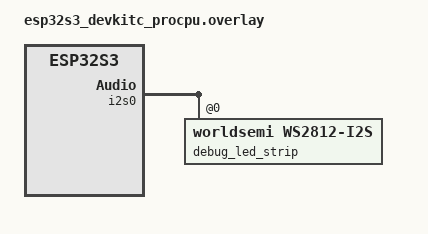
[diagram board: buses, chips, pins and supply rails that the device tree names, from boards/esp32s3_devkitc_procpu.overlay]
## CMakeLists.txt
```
cmake_minimum_required(VERSION 3.20.0)
find_package(Zephyr REQUIRED HINTS $ENV{ZEPHYR_BASE})
project(hybrid_lighting_esp32s3)

target_sources(app PRIVATE src/main.c)
```

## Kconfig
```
# SPDX-License-Identifier: Apache-2.0

mainmenu "Hybrid Lighting Lab"

source "$ZEPHYR_BASE/Kconfig.zephyr"

menu "Hybrid Lighting Lab"

config HYBRID_WIFI_SSID
    string "Wi-Fi SSID"
    default ""

config HYBRID_WIFI_PSK
    string "Wi-Fi PSK"
    default ""

endmenu
```

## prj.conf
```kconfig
CONFIG_MAIN_STACK_SIZE=8192
CONFIG_HEAP_MEM_POOL_SIZE=49152

CONFIG_LOG=y
CONFIG_LOG_DEFAULT_LEVEL=3
CONFIG_SERIAL=y
CONFIG_CONSOLE=y
CONFIG_UART_CONSOLE=y

CONFIG_GW_ENGINE=y
CONFIG_GW_ENGINE_TRANSPORT_INTERNAL=y
CONFIG_GW_ENGINE_TRANSPORT_SPI=n
CONFIG_GW_ENGINE_TRANSPORT_UART=n
CONFIG_GW_ENGINE_PORTS_ZEPHYR=n

CONFIG_GW_ENGINE_CLOUD_STUB=y
CONFIG_GW_ENGINE_CLOUD_ZEPHYR=n
CONFIG_GW_ENGINE_OTA_STUB=y

CONFIG_NETWORKING=y
CONFIG_WIFI=y
CONFIG_NET_L2_ETHERNET=y
CONFIG_NET_L2_WIFI_MGMT=y
CONFIG_NET_MGMT=y
CONFIG_NET_MGMT_EVENT=y
CONFIG_NET_CONNECTION_MANAGER=y
CONFIG_NET_IPV4=y
CONFIG_NET_IPV6=n
CONFIG_NET_TCP=y
CONFIG_NET_UDP=y
CONFIG_NET_DHCPV4=y
CONFIG_NET_SOCKETS=y
CONFIG_POSIX_API=y
CONFIG_DNS_RESOLVER=y
CONFIG_ZVFS_POLL_MAX=8

CONFIG_LED_STRIP=y
CONFIG_WS2812_STRIP_I2S=y

CONFIG_HYBRID_WIFI_SSID=""
CONFIG_HYBRID_WIFI_PSK=""
```

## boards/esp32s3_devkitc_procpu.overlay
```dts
#include <zephyr/dt-bindings/led/led.h>
#include <zephyr/dt-bindings/pinctrl/esp32s3-pinctrl.h>

/ {
    aliases {
        led-strip = &debug_led_strip;
    };
};

&i2s0_default {
    group1 {
        pinmux = <I2S0_O_SD_GPIO48>;
    };
};

i2s_led: &i2s0 {
    status = "okay";

    dmas = <&dma 3>;
    dma-names = "tx";

    debug_led_strip: ws2812@0 {
        compatible = "worldsemi,ws2812-i2s";

        reg = <0>;
        chain-length = <1>;
        color-mapping = <LED_COLOR_ID_GREEN
                         LED_COLOR_ID_RED
                         LED_COLOR_ID_BLUE>;
        reset-delay = <500>;
    };
};

&dma {
    status = "okay";
};
```

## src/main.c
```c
#include <errno.h>
#include <stdbool.h>
#include <stdint.h>
#include <stdio.h>
#include <string.h>

#include <zephyr/device.h>
#include <zephyr/devicetree.h>
#include <zephyr/drivers/led_strip.h>
#include <zephyr/kernel.h>
#include <zephyr/logging/log.h>
#include <zephyr/net/net_if.h>
#include <zephyr/net/net_mgmt.h>
#include <zephyr/net/wifi.h>
#include <zephyr/net/wifi_mgmt.h>

#include <gateway_engine/gw_engine.h>
#include <gateway_engine/gw_link_proto.h>

LOG_MODULE_REGISTER(hybrid_lighting_gateway, LOG_LEVEL_INF);

#define LAB_WIFI_EVENTS (NET_EVENT_WIFI_CONNECT_RESULT | NET_EVENT_WIFI_DISCONNECT_RESULT)
#define LAB_WIFI_RETRY_MS 5000U
#define LAB_ENGINE_RETRY_MS 5000U

#if DT_NODE_HAS_STATUS(DT_ALIAS(led_strip), okay)
#define LAB_HAS_DEBUG_LED 1
#else
#define LAB_HAS_DEBUG_LED 0
#endif

typedef enum {
    DEBUG_LED_OFF = 0,
    DEBUG_LED_RED,
    DEBUG_LED_GREEN,
    DEBUG_LED_BLUE,
} debug_led_state_t;

typedef struct {
    uint8_t is_on;
    uint8_t brightness;
    uint8_t scene;
    uint16_t heartbeat_count;
    uint32_t tick;
} edge_lighting_state_t;

typedef struct {
    edge_lighting_state_t edge;
    gw_engine_t engine;
    gw_transport_t transport;
    gw_transport_internal_t internal_backend;
    struct net_if *wifi_iface;
    struct net_mgmt_event_callback wifi_cb;
    bool wifi_connected;
    bool wifi_connect_pending;
    bool engine_started;
    uint32_t last_wifi_attempt_ms;
    uint32_t last_engine_attempt_ms;
    uint32_t last_scene_log_ms;
    debug_led_state_t led_state;
    const struct device *led_strip;
} lab_ctx_t;

static lab_ctx_t *g_lab_ctx;

static int edge_build_ack(const gw_link_frame_view_t *view, uint8_t *rx_data, size_t rx_cap, size_t *rx_len)
{
    uint8_t payload[4] = {0U, 0U, 0U, 0U};

    if (view == NULL || rx_data == NULL || rx_len == NULL) {
        return -EINVAL;
    }

    payload[0] = view->cmd;
    payload[1] = (uint8_t)(view->seq & 0x00FFU);
    payload[2] = (uint8_t)(view->seq >> 8);
    payload[3] = 0x00U;

    return gw_link_encode(0U, GW_LINK_CMD_ACK, view->seq, payload, sizeof(payload), rx_data, rx_cap, rx_len);
}

static void edge_apply_control(edge_lighting_state_t *edge, const gw_link_frame_view_t *view)
{
    uint8_t op;
    uint8_t arg;

    if (edge == NULL || view == NULL || view->payload_len < 2U) {
        return;
    }

    op = view->payload[0];
    arg = view->payload[1];

    switch (op) {
    case 0x01:
        edge->is_on = (arg > 0U) ? 1U : 0U;
        break;
    case 0x02:
        edge->brightness = arg;
        break;
    case 0x03:
        edge->scene = arg;
        break;
    default:
        break;
    }
}

static int internal_exchange_cb(
    const uint8_t *tx_data,
    size_t tx_len,
    uint8_t *rx_data,
    size_t rx_cap,
    size_t *rx_len,
    void *user_data)
{
    lab_ctx_t *lab = (lab_ctx_t *)user_data;
    gw_link_frame_view_t view;
    int rc;

    if (lab == NULL || tx_data == NULL || tx_len == 0U || rx_data == NULL || rx_len == NULL) {
        return -EINVAL;
    }

    rc = gw_link_decode(tx_data, tx_len, &view);
    if (rc != 0) {
        return rc;
    }

    if (view.cmd == GW_LINK_CMD_HEARTBEAT) {
        lab->edge.heartbeat_count++;
    } else if (view.cmd == GW_LINK_CMD_CONTROL) {
        edge_apply_control(&lab->edge, &view);
    }

    return edge_build_ack(&view, rx_data, rx_cap, rx_len);
}

static void edge_simulate_animation(edge_lighting_state_t *edge)
{
    if (edge == NULL) {
        return;
    }

    edge->tick++;

    if (edge->is_on == 0U) {
        edge->brightness = 0U;
        return;
    }

    if (edge->scene == 0U) {
        edge->brightness = (uint8_t)(30U + (edge->tick % 70U));
    } else if (edge->scene == 1U) {
        edge->brightness = (uint8_t)(edge->tick % 100U);
    } else {
        edge->brightness = (uint8_t)(80U + ((edge->tick / 8U) % 20U));
    }
}

static int gateway_send_control(gw_engine_t *engine, uint8_t op, uint8_t arg)
{
    uint8_t payload[2];

    if (engine == NULL) {
        return -EINVAL;
    }

    payload[0] = op;
    payload[1] = arg;

    return gw_engine_send(engine, GW_LINK_CMD_CONTROL, payload, sizeof(payload));
}

static int gateway_send_heartbeat(gw_engine_t *engine)
{
    uint8_t payload[2] = {0xAAU, 0x55U};

    if (engine == NULL) {
        return -EINVAL;
    }

    return gw_engine_send(engine, GW_LINK_CMD_HEARTBEAT, payload, sizeof(payload));
}

static int gateway_send_lighting_telemetry(gw_engine_t *engine, const edge_lighting_state_t *edge)
{
    char payload[96];
    int n;

    if (engine == NULL || edge == NULL) {
        return -EINVAL;
    }

    n = snprintk(
        payload,
        sizeof(payload),
        "{\"on\":%u,\"brightness\":%u,\"scene\":%u,\"hb\":%u}",
        (unsigned int)edge->is_on,
        (unsigned int)edge->brightness,
        (unsigned int)edge->scene,
        (unsigned int)edge->heartbeat_count);
    if (n <= 0 || (size_t)n >= sizeof(payload)) {
        return -ENOSPC;
    }

    return gw_engine_send(engine, GW_LINK_CMD_TELEMETRY, (const uint8_t *)payload, (uint16_t)n);
}

static const struct device *lab_get_led_strip(void)
{
#if LAB_HAS_DEBUG_LED
    return DEVICE_DT_GET(DT_ALIAS(led_strip));
#else
    return NULL;
#endif
}

static int lab_set_debug_led(lab_ctx_t *lab, debug_led_state_t next)
{
    struct led_rgb pixel;
    int rc;

    if (lab == NULL || lab->led_strip == NULL) {
        return -ENODEV;
    }

    if (!device_is_ready(lab->led_strip)) {
        return -ENODEV;
    }

    if (lab->led_state == next) {
        return 0;
    }

    (void)memset(&pixel, 0, sizeof(pixel));

    switch (next) {
    case DEBUG_LED_RED:
        pixel.r = 64U;
        break;
    case DEBUG_LED_GREEN:
        pixel.g = 64U;
        break;
    case DEBUG_LED_BLUE:
        pixel.b = 64U;
        break;
    case DEBUG_LED_OFF:
    default:
        break;
    }

    rc = led_strip_update_rgb(lab->led_strip, &pixel, 1U);
    if (rc != 0) {
        return rc;
    }

    lab->led_state = next;
    return 0;
}

static void lab_refresh_debug_led(lab_ctx_t *lab)
{
    debug_led_state_t target = DEBUG_LED_RED;
    bool mqtt_connected;

    if (lab == NULL) {
        return;
    }

    mqtt_connected = lab->wifi_connected && lab->engine_started && lab->engine.cloud.connected;

    if (lab->wifi_connected && mqtt_connected) {
        target = DEBUG_LED_BLUE;
    } else if (lab->wifi_connected) {
        target = DEBUG_LED_GREEN;
    }

    if (lab_set_debug_led(lab, target) != 0) {
        return;
    }
}

static void lab_wifi_event_handler(struct net_mgmt_event_callback *cb, uint64_t mgmt_event, struct net_if *iface)
{
    const struct wifi_status *status;
    lab_ctx_t *lab = g_lab_ctx;

    if (lab == NULL || iface != lab->wifi_iface) {
        return;
    }

    status = (const struct wifi_status *)cb->info;

    switch (mgmt_event) {
    case NET_EVENT_WIFI_CONNECT_RESULT:
        lab->wifi_connect_pending = false;
        if (status != NULL && status->status == 0) {
            lab->wifi_connected = true;
            LOG_INF("wifi connected");
        } else {
            lab->wifi_connected = false;
            LOG_WRN("wifi connect failed: %d", (status != NULL) ? status->status : -EIO);
        }
        break;

    case NET_EVENT_WIFI_DISCONNECT_RESULT:
        lab->wifi_connected = false;
        lab->wifi_connect_pending = false;
        LOG_WRN("wifi disconnected: %d", (status != NULL) ? status->status : 0);
        break;

    default:
        break;
    }
}

static int lab_wifi_status_sync(lab_ctx_t *lab)
{
    struct wifi_iface_status status;
    int rc;

    if (lab == NULL || lab->wifi_iface == NULL) {
        return -EINVAL;
    }

    (void)memset(&status, 0, sizeof(status));

    rc = net_mgmt(
        NET_REQUEST_WIFI_IFACE_STATUS,
        lab->wifi_iface,
        &status,
        sizeof(struct wifi_iface_status));
    if (rc != 0) {
        return rc;
    }

    lab->wifi_connected = (status.state == WIFI_STATE_COMPLETED);
    return 0;
}

static int lab_wifi_connect_request(lab_ctx_t *lab)
{
    struct wifi_connect_req_params params;
    size_t ssid_len;
    size_t psk_len;

    if (lab == NULL || lab->wifi_iface == NULL) {
        return -EINVAL;
    }

    if (lab->wifi_connected || lab->wifi_connect_pending) {
        return 0;
    }

    ssid_len = strlen(CONFIG_HYBRID_WIFI_SSID);
    if (ssid_len == 0U) {
        return -ENODATA;
    }

    psk_len = strlen(CONFIG_HYBRID_WIFI_PSK);

    (void)memset(&params, 0, sizeof(params));
    params.ssid = (const uint8_t *)CONFIG_HYBRID_WIFI_SSID;
    params.ssid_length = (uint8_t)ssid_len;
    params.band = WIFI_FREQ_BAND_UNKNOWN;
    params.channel = WIFI_CHANNEL_ANY;
    params.mfp = WIFI_MFP_OPTIONAL;

    if (psk_len > 0U) {
        params.security = WIFI_SECURITY_TYPE_PSK;
        params.psk = (const uint8_t *)CONFIG_HYBRID_WIFI_PSK;
        params.psk_length = (uint8_t)psk_len;
    } else {
        params.security = WIFI_SECURITY_TYPE_NONE;
    }

    lab->wifi_connect_pending = true;

    return net_mgmt(
        NET_REQUEST_WIFI_CONNECT,
        lab->wifi_iface,
        &params,
        sizeof(struct wifi_connect_req_params));
}

static int lab_wifi_init(lab_ctx_t *lab)
{
    if (lab == NULL) {
        return -EINVAL;
    }

    lab->wifi_iface = net_if_get_default();
    if (lab->wifi_iface == NULL) {
        return -ENODEV;
    }

    g_lab_ctx = lab;

    net_mgmt_init_event_callback(&lab->wifi_cb, lab_wifi_event_handler, LAB_WIFI_EVENTS);
    net_mgmt_add_event_callback(&lab->wifi_cb);

    if (lab_wifi_status_sync(lab) == 0 && lab->wifi_connected) {
        LOG_INF("wifi already connected");
    }

    if (strlen(CONFIG_HYBRID_WIFI_SSID) == 0U) {
        LOG_WRN("CONFIG_HYBRID_WIFI_SSID is empty; wifi connect disabled");
    }

    return 0;
}

static void lab_wifi_poll(lab_ctx_t *lab, uint32_t now_ms)
{
    int rc;

    if (lab == NULL || lab->wifi_connected || lab->wifi_connect_pending) {
        return;
    }

    if (strlen(CONFIG_HYBRID_WIFI_SSID) == 0U) {
        return;
    }

    if ((now_ms - lab->last_wifi_attempt_ms) < LAB_WIFI_RETRY_MS) {
        return;
    }

    lab->last_wifi_attempt_ms = now_ms;

    rc = lab_wifi_connect_request(lab);
    if (rc != 0) {
        lab->wifi_connect_pending = false;
        LOG_WRN("wifi connect request failed: %d", rc);
    } else {
        LOG_INF("wifi connect requested");
    }
}

static void lab_engine_poll(lab_ctx_t *lab, uint32_t now_ms)
{
    int rc;

    if (lab == NULL) {
        return;
    }

    if (!lab->wifi_connected) {
        if (lab->engine_started) {
            (void)gw_engine_stop(&lab->engine);
            lab->engine_started = false;
            LOG_WRN("engine stopped due to wifi disconnect");
        }
        return;
    }

    if (lab->engine_started) {
        return;
    }

    if ((now_ms - lab->last_engine_attempt_ms) < LAB_ENGINE_RETRY_MS) {
        return;
    }

    lab->last_engine_attempt_ms = now_ms;

    rc = gw_engine_start(&lab->engine);
    if (rc == 0) {
        lab->engine_started = true;
        LOG_INF("engine started");
        return;
    }

    LOG_WRN("engine start failed: %d", rc);
}

static int lab_init(lab_ctx_t *lab)
{
    gw_transport_internal_config_t internal_cfg;
    gw_engine_config_t engine_cfg;
    int rc;

    if (lab == NULL) {
        return -EINVAL;
    }

    (void)memset(lab, 0, sizeof(*lab));

    lab->edge.is_on = 1U;
    lab->edge.scene = 0U;
    lab->edge.brightness = 40U;
    lab->led_state = DEBUG_LED_OFF;

    lab->led_strip = lab_get_led_strip();
    if (lab->led_strip != NULL && !device_is_ready(lab->led_strip)) {
        LOG_WRN("debug led strip present but not ready");
        lab->led_strip = NULL;
    }

    internal_cfg.exchange_cb = internal_exchange_cb;
    internal_cfg.user_data = lab;
    internal_cfg.mtu = 512U;

    rc = gw_transport_internal_init(&lab->internal_backend, &lab->transport, &internal_cfg);
    if (rc != 0) {
        return rc;
    }

    (void)memset(&engine_cfg, 0, sizeof(engine_cfg));
    engine_cfg.profile = GW_PROFILE_LIGHTING_GATEWAY;
    engine_cfg.device_id = "hybrid-lighting-esp32s3";
    engine_cfg.loop_period_ms = 20U;

    engine_cfg.cloud.device_id = "hybrid-lighting-esp32s3";
    engine_cfg.cloud.hardware_id = "3030F903AA1C";
    engine_cfg.cloud.identity_key = "3030F903AA1C";
    engine_cfg.cloud.manufacturing_key = "lab-key";
    engine_cfg.cloud.bootstrap_timeout_ms = 1000U;
    engine_cfg.cloud.mqtt_connect_timeout_ms = 1000U;

    engine_cfg.ota.chunk_size = 1024U;
    engine_cfg.ota.timeout_ms = 3000U;

    rc = gw_engine_init(&lab->engine, &engine_cfg, &lab->transport);
    if (rc != 0) {
        return rc;
    }

    rc = lab_wifi_init(lab);
    if (rc != 0) {
        return rc;
    }

    return 0;
}

int main(void)
{
    lab_ctx_t lab;
    uint32_t loop_count = 0U;
    int rc;

    rc = lab_init(&lab);
    if (rc != 0) {
        LOG_ERR("lab_init failed: %d", rc);
        return rc;
    }

    LOG_INF("Hybrid lighting lab started on profile=%s", gw_engine_profile_name(&lab.engine));

    while (true) {
        uint32_t now_ms = k_uptime_get_32();

        lab_wifi_poll(&lab, now_ms);
        lab_engine_poll(&lab, now_ms);
        lab_refresh_debug_led(&lab);

        edge_simulate_animation(&lab.edge);

        if (lab.engine_started && (loop_count % 10U) == 0U) {
            rc = gateway_send_heartbeat(&lab.engine);
            if (rc != 0) {
                LOG_WRN("heartbeat send failed: %d", rc);
            }
        }

        if (lab.engine_started && (loop_count % 5U) == 0U) {
            rc = gateway_send_lighting_telemetry(&lab.engine, &lab.edge);
            if (rc != 0) {
                LOG_WRN("telemetry send failed: %d", rc);
            }
        }

        if (lab.engine_started && (loop_count % 200U) == 0U) {
            uint8_t next_scene = (uint8_t)((lab.edge.scene + 1U) % 3U);
            rc = gateway_send_control(&lab.engine, 0x03, next_scene);
            if (rc == 0) {
                LOG_INF("scene changed to %u", (unsigned int)next_scene);
            }
        }

        if (lab.engine_started) {
            rc = gw_engine_step(&lab.engine);
            if (rc != 0) {
                LOG_WRN("engine step failed: %d", rc);
                (void)gw_engine_stop(&lab.engine);
                lab.engine_started = false;
            }
        }

        if ((now_ms - lab.last_scene_log_ms) >= 1000U) {
            lab.last_scene_log_ms = now_ms;
            LOG_INF(
                "edge state on=%u brightness=%u scene=%u hb=%u wifi=%u mqtt=%u",
                (unsigned int)lab.edge.is_on,
                (unsigned int)lab.edge.brightness,
                (unsigned int)lab.edge.scene,
                (unsigned int)lab.edge.heartbeat_count,
                (unsigned int)lab.wifi_connected,
                (unsigned int)(lab.engine_started && lab.engine.cloud.connected));
        }

        loop_count++;
        k_sleep(K_MSEC(20));
    }

    (void)gw_engine_stop(&lab.engine);
    return 0;
}
```
